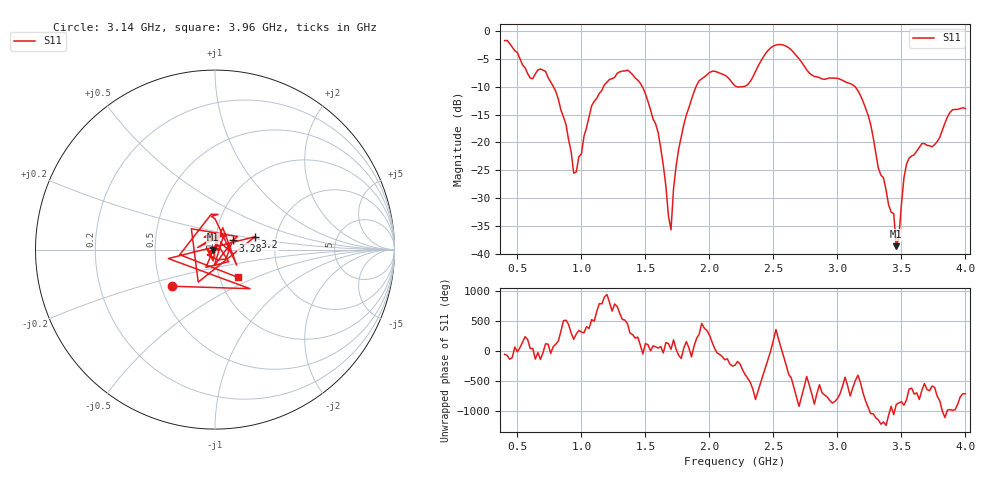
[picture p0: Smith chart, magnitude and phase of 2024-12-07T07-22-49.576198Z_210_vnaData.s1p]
!Created with skrf (http://scikit-rf.org).
# Hz S RI R 50.0
!freq ReS11 ImS11
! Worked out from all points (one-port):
!   181 points, 400 MHz to 4 GHz, reference 50 ohm
!   lowest |S11| = -38.6 dB at 3.46 GHz (marker M1), VSWR 1.02, Z = 48.8 - j0.0765 ohm
!   |S11| at or under -10 dB: 781.9 MHz to 1.173 GHz (390.8 MHz wide, 40 % of centre); 1.476 GHz to 1.895 GHz (419.1 MHz wide, 24.9 % of centre); 3.14 GHz to end of sweep (the widest 3 of 4)
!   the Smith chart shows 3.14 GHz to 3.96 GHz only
!   S11 on the Smith chart (normalised r, x): 3.14 GHz: 0.57, -0.26; 3.2 GHz: 1.55, +0.24; 3.28 GHz: 1.21, +0.12; 3.96 GHz: 1.23, -0.40
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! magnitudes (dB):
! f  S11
! 400 MHz  -1.7
! 600 MHz  -8.4
! 720 MHz  -7.2
! 860 MHz  -15.4
! 960 MHz  -25.3
! 1.08 GHz  -13.4
! 1.3 GHz  -7.3
! 1.46 GHz  -9.3
! 1.58 GHz  -16.7
! 1.7 GHz  -35.7
! 1.72 GHz  -28.3
! 1.76 GHz  -21.2
! 1.92 GHz  -8.9
! 2.2 GHz  -9.8
! 2.5 GHz  -2.7
! 2.66 GHz  -3.9
! 2.82 GHz  -8.1
! 3.1 GHz  -9.4
! 3.14 GHz  -10.0
! 3.2 GHz  -12.6
! 3.28 GHz  -19.1
! 3.44 GHz  -32.8
! 3.46 GHz  -38.6
! 3.48 GHz  -37.1
! 3.52 GHz  -26.3
! 3.56 GHz  -22.8
! 3.96 GHz  -13.9
! 4 GHz  -13.9
